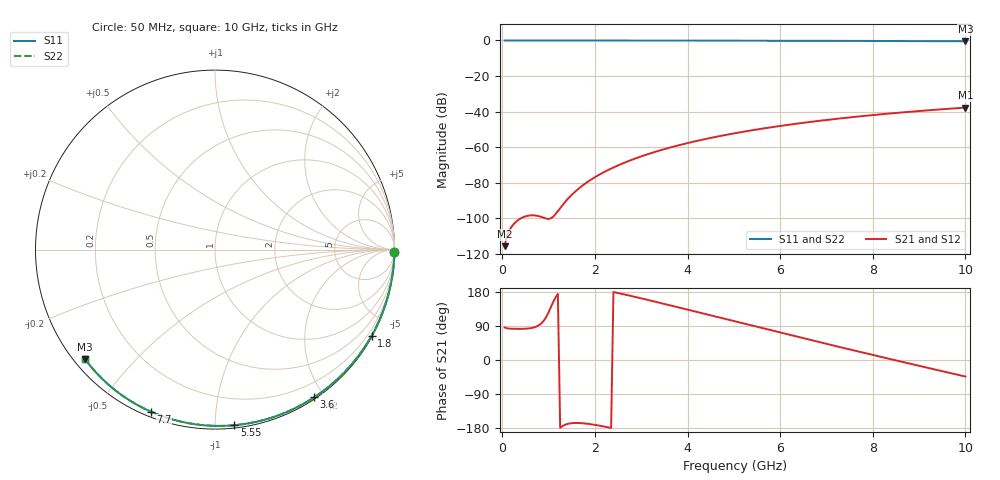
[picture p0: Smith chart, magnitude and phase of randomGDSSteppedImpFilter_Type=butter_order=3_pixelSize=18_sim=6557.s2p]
! freq	dB(S11)	phase(S11)	dB(S12)	phase(S12)
!  dB(S21)	phase(S21)	dB(S22)	phase(S22)
!S-par simulation data
#  GHz  S  DB  R 50
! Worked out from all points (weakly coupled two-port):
!   200 points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, 50 MHz to 10 GHz, reference 50 ohm
!   highest |S21| = -37.77 dB at 10 GHz (marker M1); lowest = -115.7 dB at 50 MHz (marker M2)
!   lowest |S11| = -0.5 dB at 10 GHz (marker M3), VSWR 36.73, Z = 1.54 - j18.3 ohm
!   |S11| at or under -10 dB: nowhere
!   |S22| runs from -0.5 to 0.0 dB; largest |S21 - S12| = 0
!   S11 on the Smith chart (normalised r, x): 50 MHz: open; 1.8 GHz: 0.03, -3.90; 3.6 GHz: 0.02, -1.87; 5.55 GHz: 0.02, -1.12; 7.7 GHz: 0.02, -0.68; 10 GHz: 0.03, -0.37
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0.05  -0.00 -0.8  -115.70 86.0  -115.70 86.0  -0.00 -0.8
0.45  -0.01 -7.3  -99.43 82.3  -99.43 82.3  -0.01 -7.3
0.9  -0.02 -14.5  -99.79 104.4  -99.79 104.4  -0.02 -14.5
1.75  -0.04 -28.0  -81.25 -167.0  -81.25 -167.0  -0.04 -28.0
1.8  -0.04 -28.8  -80.30 -167.7  -80.30 -167.7  -0.04 -28.8
1.85  -0.04 -29.5  -79.41 -168.4  -79.41 -168.4  -0.04 -29.5
2  -0.04 -31.9  -76.92 -171.2  -76.92 -171.2  -0.04 -31.9
2.15  -0.04 -34.2  -74.69 -174.4  -74.69 -174.4  -0.04 -34.2
2.35  -0.05 -37.3  -72.04 -179.3  -72.04 -179.3  -0.05 -37.3
2.55  -0.05 -40.4  -69.70 175.4  -69.70 175.4  -0.05 -40.4
2.95  -0.06 -46.5  -65.66 164.1  -65.66 164.1  -0.06 -46.5
3.4  -0.07 -53.2  -61.88 150.9  -61.88 150.9  -0.07 -53.2
3.6  -0.08 -56.1  -60.40 145.0  -60.40 145.0  -0.08 -56.1
4.3  -0.09 -66.3  -55.92 123.8  -55.92 123.8  -0.09 -66.3
5.05  -0.12 -76.8  -52.05 101.1  -52.05 101.1  -0.12 -76.9
5.55  -0.14 -83.7  -49.85 85.9  -49.85 85.9  -0.14 -83.7
6.1  -0.16 -91.1  -47.71 69.4  -47.71 69.4  -0.16 -91.1
6.7  -0.19 -98.9  -45.66 51.5  -45.66 51.5  -0.19 -98.9
7.7  -0.26 -111.6  -42.74 22.1  -42.74 22.1  -0.26 -111.6
8.35  -0.31 -119.7  -41.12 3.3  -41.12 3.3  -0.31 -119.7
9.2  -0.39 -130.1  -39.27 -21.0  -39.27 -21.0  -0.39 -130.1
10  -0.47 -139.8  -37.77 -43.7  -37.77 -43.7  -0.47 -139.8
